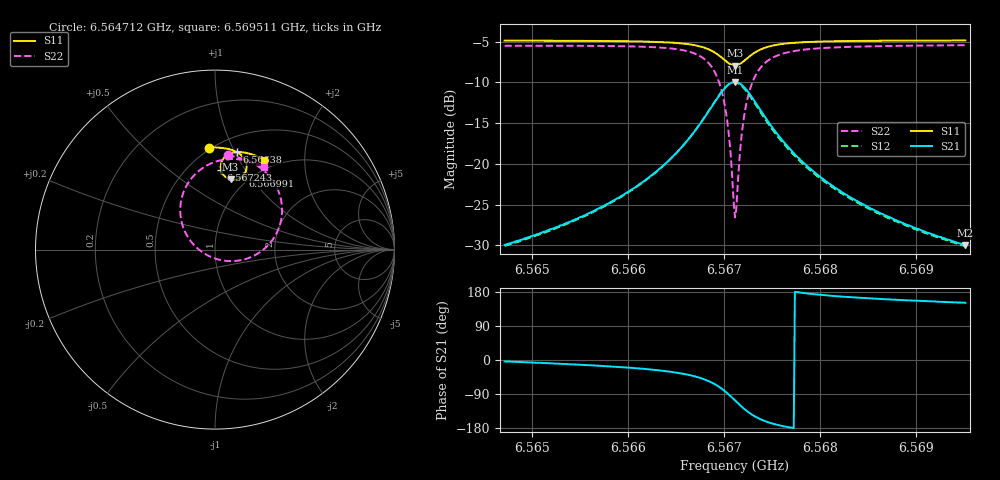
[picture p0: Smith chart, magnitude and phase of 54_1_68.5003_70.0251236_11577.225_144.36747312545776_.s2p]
#  HZ  S  RI  R  50.00
! Rohde & Schwarz Vector Network Analyzer
! Rohde-Schwarz,ZNB20-2Port,1311601062101988,3.16
! Created: UTC 3/20/2024, 4:50:57 PM
! freq[Hz]  re:S11  im:S11  re:S21  im:S21  re:S12  im:S12  re:S22  im:S22
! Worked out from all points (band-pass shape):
!   401 points, 6.564712 GHz to 6.569511 GHz, reference 50 ohm
!   highest |S21| = -9.95 dB at 6.567111 GHz (marker M1); lowest = -30.0 dB at 6.569511 GHz (marker M2)
!   |S21| within 3 dB of the highest: 6.56687 GHz to 6.567351 GHz (480.9 kHz wide, 0.00732 % of centre)
!   lowest |S11| = -7.9 dB at 6.567111 GHz (marker M3), VSWR 2.34, Z = 42.6 + j39.6 ohm
!   |S11| at or under -10 dB: nowhere
!   |S22| runs from -26.6 to -5.4 dB; largest |S21 - S12| = 0.017
!   S11 on the Smith chart (normalised r, x): 6.564712 GHz: 0.49, +0.82; 6.56638 GHz: 0.65, +1.02; 6.566991 GHz: 0.91, +0.93; 6.567243 GHz: 0.71, +0.79; 6.569511 GHz: 0.87, +1.29
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6.5647118e9  -0.0342 0.5684  0.0317 -0.00205  0.0312 -0.00262  0.0697 0.5249
6.5655157e9  0.0337 0.5671  0.0463 -0.0105  0.0455 -0.0111  0.1518 0.5069
6.5659476e9  0.0739 0.5606  0.0608 -0.0211  0.0599 -0.0219  0.208 0.4834
6.5663195e9  0.1137 0.5472  0.0824 -0.0425  0.0811 -0.0435  0.2727 0.4397
6.5663795e9  0.1207 0.5438  0.087 -0.0483  0.0858 -0.0494  0.2855 0.4279
6.5666195e9  0.1517 0.5209  0.1092 -0.0876  0.1075 -0.0895  0.3423 0.3505
6.5667995e9  0.1731 0.4839  0.1205 -0.1528  0.1173 -0.1565  0.3735 0.2242
6.5669074e9  0.1742 0.446  0.1038 -0.2198  0.0976 -0.2245  0.3456 0.0968
6.5669914e9  0.1552 0.4108  0.0536 -0.2798  0.0425 -0.2834  0.2508 -0.0143
6.5670394e9  0.1324 0.3949  0.00307 -0.3049  -0.0107 -0.3052  0.1563 -0.0564
6.5670874e9  0.1026 0.3889  -0.0588 -0.311  -0.0739 -0.3064  0.0431 -0.0604
6.5671114e9  0.087 0.3908  -0.0909 -0.3047  -0.1052 -0.2973  -0.0131 -0.0451
6.5671354e9  0.0723 0.3962  -0.1208 -0.2922  -0.1341 -0.2823  -0.0648 -0.0185
6.5671714e9  0.0534 0.4095  -0.1589 -0.2642  -0.1691 -0.2515  -0.1274 0.037
6.5671954e9  0.0441 0.4206  -0.1781 -0.2411  -0.1861 -0.2276  -0.1573 0.0803
6.5672434e9  0.0334 0.4454  -0.2011 -0.1924  -0.2046 -0.1786  -0.1892 0.1693
6.5673394e9  0.0367 0.4883  -0.2028 -0.1094  -0.2009 -0.0989  -0.1773 0.3141
6.5674833e9  0.0638 0.5238  -0.1678 -0.0405  -0.1639 -0.0348  -0.1009 0.4291
6.5676513e9  0.0956 0.5393  -0.1291 -0.00788  -0.1258 -0.00471  -0.0203 0.4809
6.5679152e9  0.1343 0.5439  -0.0907 0.00932  -0.0882 0.0108  0.0655 0.5032
6.5687191e9  0.2148 0.5272  -0.0442 0.0162  -0.0431 0.0166  0.1988 0.4893
6.569511e9  0.2757 0.5  -0.0276 0.0154  -0.0272 0.0155  0.2752 0.4577
